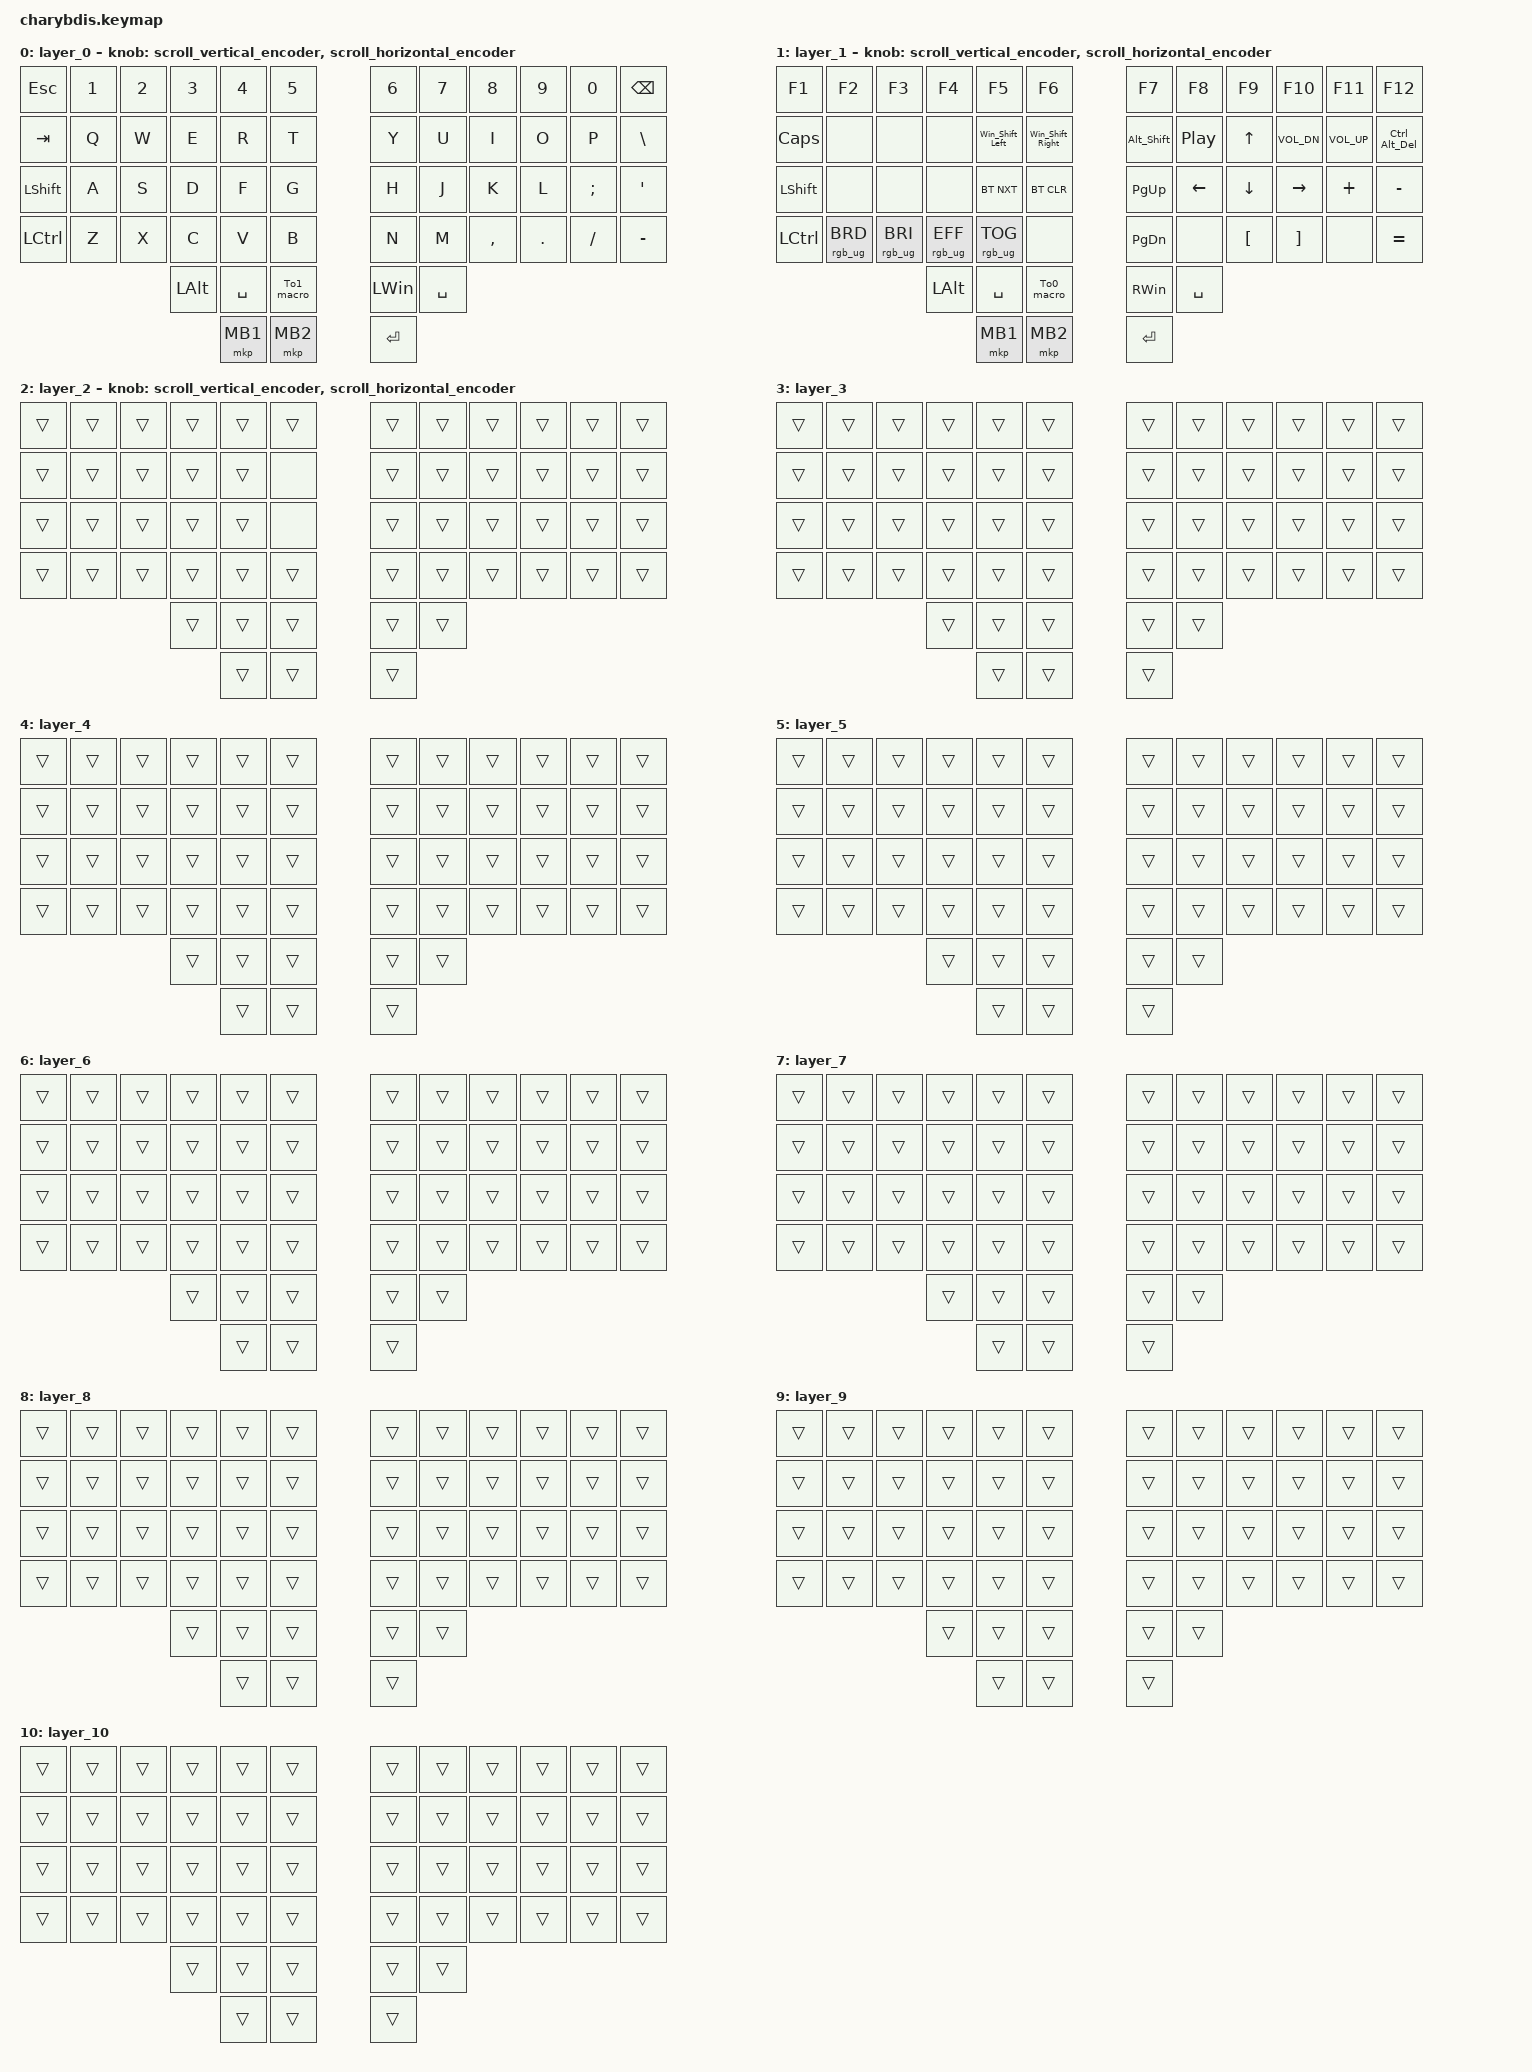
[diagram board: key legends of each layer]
#define ZMK_POINTING_DEFAULT_SCRL_VAL 25

#include <dt-bindings/zmk/mouse.h>
#include <input/processors.dtsi>
#include <zephyr/dt-bindings/input/input-event-codes.h>
#include <behaviors.dtsi>
#include <dt-bindings/zmk/bt.h>
#include <dt-bindings/zmk/keys.h>
#include <dt-bindings/zmk/pointing.h>
#include <dt-bindings/zmk/rgb.h>

&lt {
    tapping-term-ms = <200>;
    flavor = "balanced";
    quick-tap-ms = <150>;
};

&msc {
    acceleration-exponent = <0>;      // 0
    time-to-max-speed-ms = <30>;       // 300
    delay-ms = <0>;                   // 0
};

/ {
    // 上下滚动编码器行为

    scroll_vertical_encoder: scroll_vertical_encoder {
        compatible = "zmk,behavior-sensor-rotate";
        #sensor-binding-cells = <0>;
        bindings = <&msc SCRL_DOWN>, <&msc SCRL_UP>;

        tap-ms = <64>;
    };

    // 左右滚动编码器行为

    scroll_horizontal_encoder: scroll_horizontal_encoder {
        compatible = "zmk,behavior-sensor-rotate";
        #sensor-binding-cells = <0>;
        bindings = <&msc SCRL_LEFT>, <&msc SCRL_RIGHT>;

        tap-ms = <64>;
    };

    behaviors {
    };

    macros {
        To1_macro: To1_macro {
            compatible = "zmk,behavior-macro";
            label = "To1_macro";
            #binding-cells = <0>;
            bindings = <&rgb_ug RGB_EFF &rgb_ug RGB_COLOR_HSB(128,100,50) &to 1>;
        };

        To1_macro_A: To1_macro_A {
            compatible = "zmk,behavior-macro";
            label = "To1_macro_A";
            #binding-cells = <0>;
            bindings = <&rgb_ug RGB_COLOR_HSB(128,100,50) &to 1>;
        };

        To0_macro: To0_macro {
            compatible = "zmk,behavior-macro";
            label = "To0_macro";
            #binding-cells = <0>;
            bindings = <&rgb_ug RGB_EFR &to 0>;
        };

        To2_macro_A: To2_macro_A {
            compatible = "zmk,behavior-macro";
            label = "To2_macro_A";
            #binding-cells = <0>;
            bindings = <&rgb_ug RGB_COLOR_HSB(250,100,50) &to 2>;
        };

        To2_macro: To2_macro {
            compatible = "zmk,behavior-macro";
            label = "To2_macro";
            #binding-cells = <0>;
            bindings = <&rgb_ug RGB_EFF &rgb_ug RGB_COLOR_HSB(250,100,50) &to 2>;
        };

        Win_Shift_Left: Win_Shift_Left {
            compatible = "zmk,behavior-macro";
            #binding-cells = <0>;
            bindings = <&kp LS(LG(LEFT_ARROW))>;
            label = "WIN_SHIFT_LEFT";
        };

        Win_Shift_Right: Win_Shift_Right {
            compatible = "zmk,behavior-macro";
            #binding-cells = <0>;
            bindings = <&kp LS(LG(RIGHT))>;
            label = "WIN_SHIFT_RIGHT";
        };

        Ctrl_Alt_Del: Ctrl_Alt_Del {
            compatible = "zmk,behavior-macro";
            #binding-cells = <0>;
            bindings = <&kp LA(LC(DELETE))>;
            label = "CTRL_ALT_DEL";
        };

        Alt_Shift: Alt_Shift {
            compatible = "zmk,behavior-macro";
            #binding-cells = <0>;
            bindings = <&kp LA(LEFT_SHIFT)>;
            label = "ALT_SHIFT";
        };
    };

    keymap {
        compatible = "zmk,keymap";

        layer_0 {
            bindings = <
&kp ESC         &kp N1  &kp N2  &kp N3        &kp N4     &kp N5        &kp N6     &kp N7     &kp N8     &kp N9   &kp N0    &kp BACKSPACE
&kp TAB         &kp Q   &kp W   &kp E         &kp R      &kp T         &kp Y      &kp U      &kp I      &kp O    &kp P     &kp BSLH
&kp LEFT_SHIFT  &kp A   &kp S   &kp D         &kp F      &kp G         &kp H      &kp J      &kp K      &kp L    &kp SEMI  &kp SQT
&kp LCTRL       &kp Z   &kp X   &kp C         &kp V      &kp B         &kp N      &kp M      &kp COMMA  &kp DOT  &kp FSLH  &kp MINUS
                                &kp LEFT_ALT  &kp SPACE  &To1_macro    &kp LWIN   &kp SPACE
                                              &mkp MB1   &mkp MB2      &kp ENTER
            >;

            sensor-bindings = <&scroll_vertical_encoder &scroll_horizontal_encoder>;

            //&inc_dec_kp A B>;
            //<&scroll_vertical_encoder>,
            // 编码器1：上下滚动,,
            //<&scroll_horizontal_encoder>;
            // 编码器2：左右滚动
        };

        layer_1 {
            bindings = <
&kp F1          &kp F2           &kp F3           &kp F4           &kp F5           &kp F6              &kp F7         &kp F8            &kp F9            &kp F10            &kp F11       &kp F12
&kp CAPS        &none            &none            &none            &Win_Shift_Left  &Win_Shift_Right    &Alt_Shift     &kp C_PLAY_PAUSE  &kp UP            &kp C_VOL_DN       &kp C_VOL_UP  &Ctrl_Alt_Del
&kp LEFT_SHIFT  &none            &none            &none            &bt BT_NXT       &bt BT_CLR          &kp PAGE_UP    &kp LEFT          &kp DOWN          &kp RIGHT          &kp PLUS      &kp MINUS
&kp LCTRL       &rgb_ug RGB_BRD  &rgb_ug RGB_BRI  &rgb_ug RGB_EFF  &rgb_ug RGB_TOG  &none               &kp PAGE_DOWN  &none             &kp LEFT_BRACKET  &kp RIGHT_BRACKET  &none         &kp EQUAL
                                                  &kp LEFT_ALT     &kp SPACE        &To0_macro          &kp RIGHT_WIN  &kp SPACE
                                                                   &mkp MB1         &mkp MB2            &kp ENTER
            >;

            sensor-bindings =
                <&scroll_vertical_encoder>,
                //<&inc_dec_kp A B>;,,,,,,,,,
                //<&scroll_vertical_encoder>,,,,,,,,,,
                // 编码器1：上下滚动,,,,,,,,,,,
                <&scroll_horizontal_encoder>;
        };

        layer_2 {
            bindings = <
&trans  &trans  &trans  &trans  &trans  &trans    &trans  &trans  &trans  &trans  &trans  &trans
&trans  &trans  &trans  &trans  &trans  &none     &trans  &trans  &trans  &trans  &trans  &trans
&trans  &trans  &trans  &trans  &trans  &none     &trans  &trans  &trans  &trans  &trans  &trans
&trans  &trans  &trans  &trans  &trans  &trans    &trans  &trans  &trans  &trans  &trans  &trans
                        &trans  &trans  &trans    &trans  &trans
                                &trans  &trans    &trans
            >;

            sensor-bindings =
                <&scroll_vertical_encoder>,
                //<&inc_dec_kp A B>;,,,,,,,,,
                //<&scroll_vertical_encoder>,,,,,,,,,,
                // 编码器1：上下滚动,,,,,,,,,,,
                <&scroll_horizontal_encoder>;
        };

        layer_3 {
            bindings = <
&trans  &trans  &trans  &trans  &trans  &trans    &trans  &trans  &trans  &trans  &trans  &trans
&trans  &trans  &trans  &trans  &trans  &trans    &trans  &trans  &trans  &trans  &trans  &trans
&trans  &trans  &trans  &trans  &trans  &trans    &trans  &trans  &trans  &trans  &trans  &trans
&trans  &trans  &trans  &trans  &trans  &trans    &trans  &trans  &trans  &trans  &trans  &trans
                        &trans  &trans  &trans    &trans  &trans
                                &trans  &trans    &trans
            >;
        };

        layer_4 {
            bindings = <
&trans  &trans  &trans  &trans  &trans  &trans    &trans  &trans  &trans  &trans  &trans  &trans
&trans  &trans  &trans  &trans  &trans  &trans    &trans  &trans  &trans  &trans  &trans  &trans
&trans  &trans  &trans  &trans  &trans  &trans    &trans  &trans  &trans  &trans  &trans  &trans
&trans  &trans  &trans  &trans  &trans  &trans    &trans  &trans  &trans  &trans  &trans  &trans
                        &trans  &trans  &trans    &trans  &trans
                                &trans  &trans    &trans
            >;
        };

        layer_5 {
            bindings = <
&trans  &trans  &trans  &trans  &trans  &trans    &trans  &trans  &trans  &trans  &trans  &trans
&trans  &trans  &trans  &trans  &trans  &trans    &trans  &trans  &trans  &trans  &trans  &trans
&trans  &trans  &trans  &trans  &trans  &trans    &trans  &trans  &trans  &trans  &trans  &trans
&trans  &trans  &trans  &trans  &trans  &trans    &trans  &trans  &trans  &trans  &trans  &trans
                        &trans  &trans  &trans    &trans  &trans
                                &trans  &trans    &trans
            >;
        };

        layer_6 {
            bindings = <
&trans  &trans  &trans  &trans  &trans  &trans    &trans  &trans  &trans  &trans  &trans  &trans
&trans  &trans  &trans  &trans  &trans  &trans    &trans  &trans  &trans  &trans  &trans  &trans
&trans  &trans  &trans  &trans  &trans  &trans    &trans  &trans  &trans  &trans  &trans  &trans
&trans  &trans  &trans  &trans  &trans  &trans    &trans  &trans  &trans  &trans  &trans  &trans
                        &trans  &trans  &trans    &trans  &trans
                                &trans  &trans    &trans
            >;
        };

        layer_7 {
            bindings = <
&trans  &trans  &trans  &trans  &trans  &trans    &trans  &trans  &trans  &trans  &trans  &trans
&trans  &trans  &trans  &trans  &trans  &trans    &trans  &trans  &trans  &trans  &trans  &trans
&trans  &trans  &trans  &trans  &trans  &trans    &trans  &trans  &trans  &trans  &trans  &trans
&trans  &trans  &trans  &trans  &trans  &trans    &trans  &trans  &trans  &trans  &trans  &trans
                        &trans  &trans  &trans    &trans  &trans
                                &trans  &trans    &trans
            >;
        };

        layer_8 {
            bindings = <
&trans  &trans  &trans  &trans  &trans  &trans    &trans  &trans  &trans  &trans  &trans  &trans
&trans  &trans  &trans  &trans  &trans  &trans    &trans  &trans  &trans  &trans  &trans  &trans
&trans  &trans  &trans  &trans  &trans  &trans    &trans  &trans  &trans  &trans  &trans  &trans
&trans  &trans  &trans  &trans  &trans  &trans    &trans  &trans  &trans  &trans  &trans  &trans
                        &trans  &trans  &trans    &trans  &trans
                                &trans  &trans    &trans
            >;
        };

        layer_9 {
            bindings = <
&trans  &trans  &trans  &trans  &trans  &trans    &trans  &trans  &trans  &trans  &trans  &trans
&trans  &trans  &trans  &trans  &trans  &trans    &trans  &trans  &trans  &trans  &trans  &trans
&trans  &trans  &trans  &trans  &trans  &trans    &trans  &trans  &trans  &trans  &trans  &trans
&trans  &trans  &trans  &trans  &trans  &trans    &trans  &trans  &trans  &trans  &trans  &trans
                        &trans  &trans  &trans    &trans  &trans
                                &trans  &trans    &trans
            >;
        };

        layer_10 {
            bindings = <
&trans  &trans  &trans  &trans  &trans  &trans    &trans  &trans  &trans  &trans  &trans  &trans
&trans  &trans  &trans  &trans  &trans  &trans    &trans  &trans  &trans  &trans  &trans  &trans
&trans  &trans  &trans  &trans  &trans  &trans    &trans  &trans  &trans  &trans  &trans  &trans
&trans  &trans  &trans  &trans  &trans  &trans    &trans  &trans  &trans  &trans  &trans  &trans
                        &trans  &trans  &trans    &trans  &trans
                                &trans  &trans    &trans
            >;
        };

        /* layer_2 {
            bindings = <
&none  &none   &none    &none   &none         &none         &kp N1         &none         &none     &none  &none   &to 0
&none  &none   &none    &none   &none         &none         &none         &none          &rgb_ug RGB_BRD &rgb_ug RGB_BRI  &rgb_ug RGB_EFF   &rgb_ug RGB_TOG
&none  &none   &none    &none   &none         &none         &none         &mkp LCLK     &mkp RCLK  &none  &none   &none
&none  &none   &none    &none   &bt BT_NXT  &bt BT_CLR    &none         &none         &none     &none  &none   &none
                                   &none         &none         &none         &none         &none
                                                 &none         &none         &none
            >;
       
            
        };

       Mouse {
            bindings = <
&none        &none         &none         &none         &none      &none         &none       &none      &none         &none         &none         &none
&none        &bt BT_SEL 0  &bt BT_SEL 1  &bt BT_SEL 3  &none      &bt BT_CLR    &bt BT_CLR  &none      &bt BT_SEL 2  &bt BT_SEL 1  &bt BT_SEL 0  &none
&none        &trans        &trans        &mkp MCLK     &trans     &none         &none       &trans     &mkp MCLK     &trans        &trans        &none
&bootloader  &trans        &mkp RCLK     &mo 4         &mkp LCLK  &mo 5         &mo 5       &mkp LCLK  &mo 4         &mkp RCLK     &trans        &bootloader
                                         &mo 5         &mkp LCLK  &mkp RCLK     &mkp RCLK   &mkp LCLK
                                                       &none      &trans        &trans
            >;

            
        };

        layer_4 {
            bindings = <
&trans  &trans  &trans     &trans     &trans     &trans       &trans     &trans     &trans     &trans     &trans  &trans
&trans  &trans  &trans     &trans     &trans     &trans       &trans     &trans     &trans     &trans     &trans  &trans
&trans  &trans  &trans     &mkp MCLK  &trans     &trans       &trans     &trans     &mkp MCLK  &trans     &trans  &trans
&trans  &trans  &mkp RCLK  &trans     &mkp LCLK  &trans       &trans     &mkp LCLK  &trans     &mkp RCLK  &trans  &trans
                           &trans     &mkp LCLK  &mkp RCLK    &mkp RCLK  &mkp LCLK
                                      &trans     &trans       &trans
            >;
                
                
               
        };

        layer_5 {
            bindings = <
&trans  &trans  &trans     &trans     &trans     &trans       &trans     &trans     &trans     &trans     &trans  &trans
&trans  &trans  &trans     &trans     &trans     &trans       &trans     &trans     &trans     &trans     &trans  &trans
&trans  &trans  &trans     &mkp MCLK  &trans     &trans       &trans     &trans     &mkp MCLK  &trans     &trans  &trans
&trans  &trans  &mkp RCLK  &trans     &mkp LCLK  &trans       &trans     &mkp LCLK  &trans     &mkp RCLK  &trans  &trans
                           &trans     &mkp LCLK  &mkp RCLK    &mkp RCLK  &mkp LCLK
                                      &trans     &trans       &trans
            >;
                
                
        };*/
    };
};
